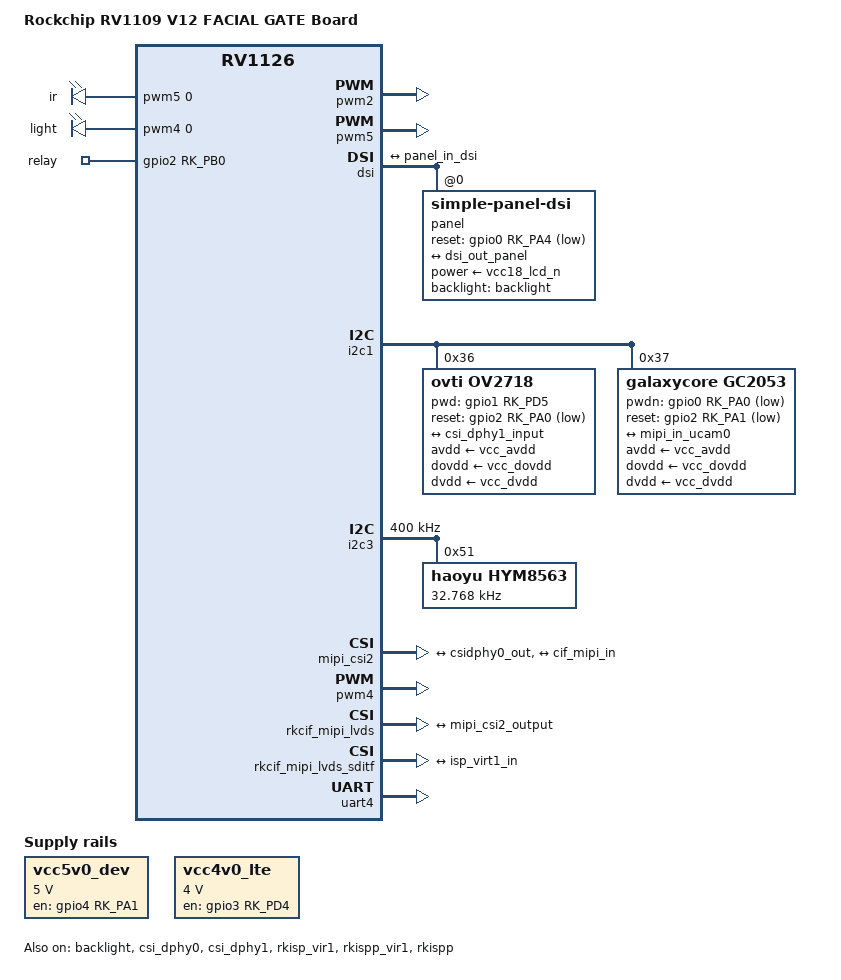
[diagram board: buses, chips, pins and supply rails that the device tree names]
// SPDX-License-Identifier: (GPL-2.0+ OR MIT)
/*
 * Copyright (c) 2020 Rockchip Electronics Co., Ltd.
 */
/dts-v1/;
#include "rv1126.dtsi"
#include "rv1126-owl-evb-v10.dtsi"
/ {
	model = "Rockchip RV1109 V12 FACIAL GATE Board";
	compatible = "rockchip,rv1109-evb-ddr3-v12-facial-gate", "rockchip,rv1126";

	chosen {
		bootargs = "earlycon=uart8250,mmio32,0xff570000 console=ttyFIQ0 root=PARTUUID=614e0000-0000 rootfstype=ext4 rootwait snd_aloop.index=7";
	};

	pwmleds {
		compatible = "pwm-leds";

		pwmi_ir {
			label = "ir";
			pwms = <&pwm5 0 25000 0>;
			max-brightness = <255>;
		};

		pwmi_light {
			label = "light";
			pwms = <&pwm4 0 25000 0>;
			max-brightness = <255>;
		};
	};

    gpio-leds {
        compatible = "gpio-leds";

        relay {
            label = "relay";
            gpios = <&gpio2 RK_PB0 GPIO_ACTIVE_HIGH>;
        };
    };

	vcc5v0_dev: vcc5v0-dev {
		compatible = "regulator-fixed";
		regulator-name = "vcc5v0_dev";
		gpio = <&gpio4 RK_PA1 GPIO_ACTIVE_HIGH>;
		enable-active-high;
		regulator-always-on;
		regulator-boot-on;
		regulator-min-microvolt = <5000000>;
		regulator-max-microvolt = <5000000>;
	};

	vcc4v0_lte: vcc4v0-lte {
		compatible = "regulator-fixed";
		regulator-name = "vcc4v0_lte";
		gpio = <&gpio3 RK_PD4 GPIO_ACTIVE_HIGH>;
		enable-active-high;
		regulator-always-on;
		regulator-boot-on;
		regulator-min-microvolt = <4000000>;
		regulator-max-microvolt = <4000000>;
	};
};

&pinctrl {
    lcd_rst {
        lcd_rst_gpio: lcd-rst-gpio {
            rockchip,pins = <0 RK_PA4 RK_FUNC_GPIO &pcfg_pull_none>;
        };
    };

    dev_pwr {
        dev_pwr_en: dev-pwr-en {
            rockchip,pins = <4 RK_PA1 RK_FUNC_GPIO &pcfg_pull_none>;
        };
    };
};

&pwm2 {
	status = "okay";
};

&pwm5 {
	status = "okay";
	pinctrl-names = "active";
	pinctrl-0 = <&pwm5m0_pins_pull_down>;
};

&backlight {
    pwms = <&pwm2 0 25000 0>;
	status = "okay";
};

&vcc18_lcd_n {
    gpio = <&gpio1 RK_PD0 GPIO_ACTIVE_HIGH>;
    vin-supply = <&vcc3v3_sys>;
};

&dsi {
	status = "okay";

    rockchip,lane-rate = <480>;
	panel@0 {
		compatible = "simple-panel-dsi";
		reg = <0>;
		backlight = <&backlight>;
		power-supply = <&vcc18_lcd_n>;
		prepare-delay-ms = <5>;
		reset-delay-ms = <1>;
		init-delay-ms = <80>;
		disable-delay-ms = <10>;
		unprepare-delay-ms = <5>;

        reset-gpios = <&gpio0 RK_PA4 GPIO_ACTIVE_LOW>;
        pinctrl-names = "default";
        pinctrl-0 = <&lcd_rst_gpio>;

		width-mm = <107>;
		height-mm = <172>;

		dsi,flags = <(MIPI_DSI_MODE_VIDEO | MIPI_DSI_MODE_VIDEO_BURST |
			      MIPI_DSI_MODE_LPM | MIPI_DSI_MODE_EOT_PACKET)>;
		dsi,format = <MIPI_DSI_FMT_RGB888>;
		dsi,lanes = <4>;

        panel-init-sequence = [
            39 00 04 FF 98 81 03
            15 00 02 01 00
            15 00 02 02 00
            15 00 02 03 53
            15 00 02 04 53
            15 00 02 05 13
            15 00 02 06 04
            15 00 02 07 02
            15 00 02 08 02
            15 00 02 09 00
            15 00 02 0a 00
            15 00 02 0b 00
            15 00 02 0c 00
            15 00 02 0d 00
            15 00 02 0e 00
            15 00 02 0f 00
            15 00 02 10 00
            15 00 02 11 00
            15 00 02 12 00
            15 00 02 13 00
            15 00 02 14 00
            15 00 02 15 00
            15 00 02 16 00
            15 00 02 17 00
            15 00 02 18 00
            15 00 02 19 00
            15 00 02 1a 00
            15 00 02 1b 00
            15 00 02 1c 00
            15 00 02 1d 00
            15 00 02 1e c0
            15 00 02 1f 80
            15 00 02 20 02
            15 00 02 21 09
            15 00 02 22 00
            15 00 02 23 00
            15 00 02 24 00
            15 00 02 25 00
            15 00 02 26 00
            15 00 02 27 00
            15 00 02 28 55
            15 00 02 29 03
            15 00 02 2a 00
            15 00 02 2b 00
            15 00 02 2c 00
            15 00 02 2d 00
            15 00 02 2e 00
            15 00 02 2f 00
            15 00 02 30 00
            15 00 02 31 00
            15 00 02 32 00
            15 00 02 33 00
            15 00 02 34 00
            15 00 02 35 00
            15 00 02 36 00
            15 00 02 37 00
            15 00 02 38 3C
            15 00 02 39 00
            15 00 02 3a 00
            15 00 02 3b 00
            15 00 02 3c 00
            15 00 02 3d 00
            15 00 02 3e 00
            15 00 02 3f 00
            15 00 02 40 00
            15 00 02 41 00
            15 00 02 42 00
            15 00 02 43 00
            15 00 02 44 00

            15 00 02 50 01
            15 00 02 51 23
            15 00 02 52 45
            15 00 02 53 67
            15 00 02 54 89
            15 00 02 55 ab
            15 00 02 56 01
            15 00 02 57 23
            15 00 02 58 45
            15 00 02 59 67
            15 00 02 5a 89
            15 00 02 5b ab
            15 00 02 5c cd
            15 00 02 5d ef

            15 00 02 5e 01
            15 00 02 5f 08
            15 00 02 60 02
            15 00 02 61 02
            15 00 02 62 0A
            15 00 02 63 15
            15 00 02 64 14
            15 00 02 65 02
            15 00 02 66 11
            15 00 02 67 10
            15 00 02 68 02
            15 00 02 69 0F
            15 00 02 6a 0E
            15 00 02 6b 02
            15 00 02 6c 0D
            15 00 02 6d 0C
            15 00 02 6e 06
            15 00 02 6f 02
            15 00 02 70 02
            15 00 02 71 02
            15 00 02 72 02
            15 00 02 73 02
            15 00 02 74 02

            15 00 02 75 06
            15 00 02 76 02
            15 00 02 77 02
            15 00 02 78 0A
            15 00 02 79 15
            15 00 02 7a 14
            15 00 02 7b 02
            15 00 02 7c 10
            15 00 02 7d 11
            15 00 02 7e 02
            15 00 02 7f 0C
            15 00 02 80 0D
            15 00 02 81 02
            15 00 02 82 0E
            15 00 02 83 0F
            15 00 02 84 08
            15 00 02 85 02
            15 00 02 86 02
            15 00 02 87 02
            15 00 02 88 02
            15 00 02 89 02
            15 00 02 8A 02

            39 00 04 FF 98 81 04
            15 00 02 22 0A
            15 00 02 6C 15
            15 00 02 6E 30
            15 00 02 6F 37
            15 00 02 8D 1F
            15 00 02 87 BA
            15 00 02 26 76
            15 00 02 B2 D1
            15 00 02 B5 07
            15 00 02 35 17
            15 00 02 33 14
            15 00 02 31 75
            15 00 02 3A 85
            15 00 02 3B 98
            15 00 02 38 01
            15 00 02 39 00
            15 00 02 7A 10
            15 00 02 B5 07
            15 00 02 31 75
            15 00 02 3B C0
            39 00 04 FF 98 81 01
            15 00 02 22 0A
            15 00 02 31 00
            15 00 02 40 53
            15 00 02 50 E9
            15 00 02 51 E4

            15 00 02 53 41
            15 00 02 55 48

            15 00 02 60 28
            15 00 02 2E C8
            15 00 02 34 01

            15 00 02 A0 00
            15 00 02 A1 17
            15 00 02 A2 26
            15 00 02 A3 15
            15 00 02 A4 19
            15 00 02 A5 2E
            15 00 02 A6 22
            15 00 02 A7 23
            15 00 02 A8 89
            15 00 02 A9 1B
            15 00 02 AA 27
            15 00 02 AB 70
            15 00 02 AC 1C
            15 00 02 AD 1D
            15 00 02 AE 52
            15 00 02 AF 27
            15 00 02 B0 2B
            15 00 02 B1 4F
            15 00 02 B2 5B
            15 00 02 B3 1C

            15 00 02 C0 00
            15 00 02 C1 17
            15 00 02 C2 26
            15 00 02 C3 15
            15 00 02 C4 19
            15 00 02 C5 2E
            15 00 02 C6 22
            15 00 02 C7 23
            15 00 02 C8 89
            15 00 02 C9 1B
            15 00 02 CA 27
            15 00 02 CB 70
            15 00 02 CC 1C
            15 00 02 CD 1D
            15 00 02 CE 52
            15 00 02 CF 27
            15 00 02 D0 2B
            15 00 02 D1 4F
            15 00 02 D2 5B
            15 00 02 D3 33

            39 00 04 FF 98 81 02
            15 00 02 04 17
            15 00 02 05 12
            15 00 02 06 40
            15 00 02 07 0B

            39 00 04 FF 98 81 00
            15 00 02 35 00

            05 C8 01 11
            05 01 01 29
            ];

        display-timings {
			native-mode = <&timing0>;

			timing0: timing0 {
				clock-frequency = <72000000>;
				hactive = <800>;
				vactive = <1280>;
				hfront-porch = <46>;
				hsync-len = <20>;
				hback-porch = <46>;
				vfront-porch = <20>;
				vsync-len = <12>;
				vback-porch = <14>;
				hsync-active = <12>;
				vsync-active = <2>;
				de-active = <0>;
				pixelclk-active = <0>;
			};
		};

		ports {
			#address-cells = <1>;
			#size-cells = <0>;

			port@0 {
				reg = <0>;
				panel_in_dsi: endpoint {
					remote-endpoint = <&dsi_out_panel>;
				};
			};
		};
	};

	ports {
		#address-cells = <1>;
		#size-cells = <0>;

		port@1 {
			reg = <1>;
			dsi_out_panel: endpoint {
				remote-endpoint = <&panel_in_dsi>;
			};
		};
	};
};

&csi_dphy0 {
	status = "okay";
	ports {
		port@0 {
			mipi_in_ucam0: endpoint@1 {
				remote-endpoint = <&ucam_out0>;
				data-lanes = <1 2>;
			};
		};
		port@1 {
			csidphy0_out: endpoint@0 {
				remote-endpoint = <&mipi_csi2_input>;
				data-lanes = <1 2>;
			};
		};
	};
};

&csi_dphy1 {
	status = "okay";
	ports {
		port@0 {
			csi_dphy1_input: endpoint@1 {
				remote-endpoint = <&ucam_out1>;
				data-lanes = <1 2>;
			};
		};
		port@1 {
			csi_dphy1_output: endpoint@0 {
				remote-endpoint = <&isp_in>;
				data-lanes = <1 2>;
			};
		};
	};
};

&i2c1 {
	ov2718: ov2718@36 {
		compatible = "ovti,ov2718";
		reg = <0x36>;
		clocks = <&cru CLK_MIPICSI_OUT>;
		clock-names = "xvclk";
		power-domains = <&power RV1126_PD_VI>;
		pinctrl-names = "rockchip,camera_default";
		pinctrl-0 = <&mipicsi_clk1>;
		avdd-supply = <&vcc_avdd>;
		dovdd-supply = <&vcc_dovdd>;
		dvdd-supply = <&vcc_dvdd>;
		pwd-gpios = <&gpio1 RK_PD5 GPIO_ACTIVE_HIGH>;
		reset-gpios = <&gpio2 RK_PA0 GPIO_ACTIVE_LOW>;
		rockchip,camera-module-index = <1>;
		rockchip,camera-module-facing = "front";
		rockchip,camera-module-name = "YT-RV1109-3-V1";
		rockchip,camera-module-lens-name = "M43-4IR-2MP-F2";
		port {
			ucam_out1: endpoint {
				remote-endpoint = <&csi_dphy1_input>;
				data-lanes = <1 2>;
			};
		};
	};

	gc2053: gc2053@37 {
		compatible = "galaxycore,gc2053";
		reg = <0x37>;

		clocks = <&cru CLK_MIPICSI_OUT>;
		clock-names = "xvclk";

		power-domains = <&power RV1126_PD_VI>;
		pinctrl-names = "rockchip,camera_default";
		pinctrl-0 = <&mipicsi_clk0>;
		pwdn-gpios = <&gpio0 RK_PA0 GPIO_ACTIVE_LOW>;
		reset-gpios = <&gpio2 RK_PA1 GPIO_ACTIVE_LOW>;

		avdd-supply = <&vcc_avdd>;
		dovdd-supply = <&vcc_dovdd>;
		dvdd-supply = <&vcc_dvdd>;

		rockchip,camera-module-index = <0>;
		rockchip,camera-module-facing = "front";
		rockchip,camera-module-name = "YT-RV1109-2-V1";
		rockchip,camera-module-lens-name = "40IR-2MP-F20";
		port {
			ucam_out0: endpoint {
				remote-endpoint = <&mipi_in_ucam0>;
				data-lanes = <1 2>;
			};
		};
	};
 };

&i2c3 {
    status = "okay";
    clock-frequency = <400000>;
    pinctrl-names = "default";
    pinctrl-0 = <&i2c3m2_xfer>;

   hym8563: hym8563@51 {
        compatible = "haoyu,hym8563";
        reg = <0x51>;

        #clock-cells = <0>;
        clock-frequency = <32768>;
        clock-output-names = "xin32k";
    };
};

&i2c5 {
    status = "disable";
};

/* isp cma buffer don't fiddle with it, dual camera(1920 * 1080) need 92M buffer */
&isp_reserved {
    size = <0x20000000>;
};

&mipi_csi2 {
	status = "okay";
	ports {
		port@0 {
			mipi_csi2_input: endpoint@1 {
				remote-endpoint = <&csidphy0_out>;
				data-lanes = <1 2>;
			};
		};

		port@1 {
			mipi_csi2_output: endpoint@0 {
				remote-endpoint = <&cif_mipi_in>;
				data-lanes = <1 2>;
			};
		};
	};
};

&pwm4 {
	status = "okay";
	pinctrl-names = "active";
	pinctrl-0 = <&pwm4m0_pins_pull_down>;
};

&rk809 {
	regulators {
		vcc_dvdd: LDO_REG6 {
			regulator-min-microvolt = <1300000>;
			regulator-max-microvolt = <1300000>;
		};

		vcc_avdd: LDO_REG7 {
			regulator-min-microvolt = <3300000>;
			regulator-max-microvolt = <3300000>;
		};
	};
};

&rkcif_mipi_lvds {
	status = "okay";
	port {
		cif_mipi_in: endpoint {
			remote-endpoint = <&mipi_csi2_output>;
			data-lanes = <1 2>;
		};
	};
};

&rkcif_mipi_lvds_sditf {
	status = "okay";

	port {
		cif_sditf: endpoint {
			remote-endpoint = <&isp_virt1_in>;
			data-lanes = <1 2 3 4>;
		};
	};
};

&rkisp_vir0 {
	ports {
		port@0 {
			isp_in: endpoint@0 {
				remote-endpoint = <&csi_dphy1_output>;
			};
		};
	};
};

&rkisp_vir1 {
	status = "okay";
	ports {
		port@0 {
			reg = <0>;
			#address-cells = <1>;
			#size-cells = <0>;

			isp_virt1_in: endpoint@0 {
				reg = <0>;
				remote-endpoint = <&cif_sditf>;
			};
		};
	};
};

&rkispp_vir1 {
	status = "okay";
};

&rkispp {
	status = "okay";
	/* the max input w h and fps of mulit sensor */
	max-input = <1920 1080 30>;
};

&uart4 {
    status = "okay";
    pinctrl-names = "default";
    pinctrl-0 = <&uart4m1_xfer>;
};

&sdio_pwrseq{
    clocks = <&hym8563>;
    clock-names = "ext_clock";
};
